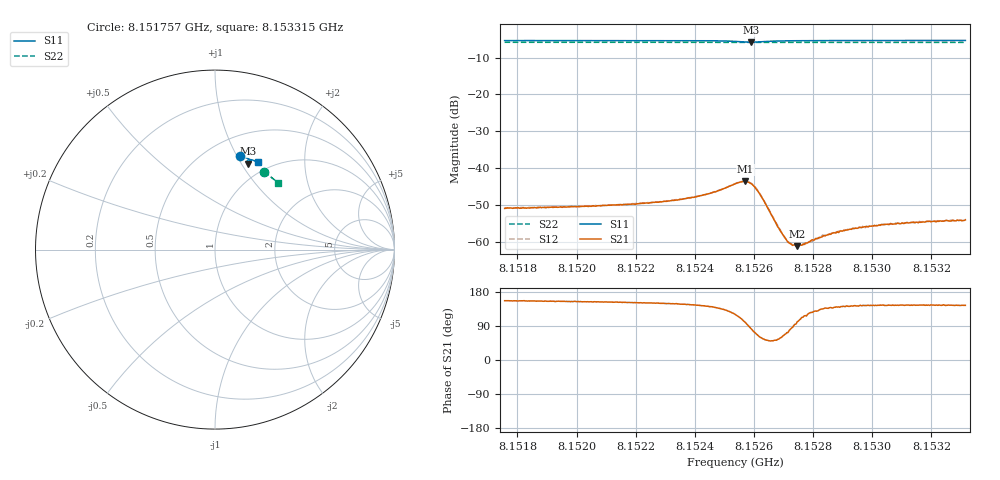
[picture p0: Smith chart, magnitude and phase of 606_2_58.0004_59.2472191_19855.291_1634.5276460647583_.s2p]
#  HZ  S  RI  R  50.00
! Rohde & Schwarz Vector Network Analyzer
! Rohde-Schwarz,ZNB20-2Port,1311601062101988,3.16
! Created: UTC 3/21/2024, 1:17:26 AM
! freq[Hz]  re:S11  im:S11  re:S21  im:S21  re:S12  im:S12  re:S22  im:S22
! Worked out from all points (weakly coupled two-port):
!   401 points, 8.151757 GHz to 8.153315 GHz, reference 50 ohm
!   highest |S21| = -43.66 dB at 8.152571 GHz (marker M1); lowest = -61.2 dB at 8.152746 GHz (marker M2)
!   lowest |S11| = -5.8 dB at 8.15259 GHz (marker M3), VSWR 3.11, Z = 41.2 + j53.6 ohm
!   |S11| at or under -10 dB: nowhere
!   |S22| runs from -5.8 to -5.8 dB; largest |S21 - S12| = 0.00015
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8.1517566e9  0.141 0.5214  -0.00259 0.00113  -0.00259 0.00116  0.274 0.4327
8.1520176e9  0.1594 0.5163  -0.0027 0.00134  -0.0027 0.00137  0.2878 0.4233
8.1522787e9  0.1787 0.5099  -0.00297 0.00171  -0.00297 0.00179  0.3013 0.4134
8.1523488e9  0.1843 0.5076  -0.00314 0.00201  -0.00317 0.00206  0.3048 0.4105
8.1524345e9  0.192 0.503  -0.00344 0.00263  -0.00343 0.0027  0.3091 0.4071
8.1524774e9  0.1962 0.499  -0.00359 0.00335  -0.00355 0.00339  0.3112 0.4052
8.1525358e9  0.1994 0.488  -0.0031 0.00524  -0.0031 0.00529  0.314 0.4025
8.1525709e9  0.1929 0.4792  -0.00101 0.00648  -0.000956 0.00656  0.3153 0.4009
8.1525903e9  0.1852 0.4792  0.000793 0.00606  0.000888 0.00614  0.3161 0.4003
8.1526059e9  0.1802 0.4831  0.00181 0.00497  0.0019 0.00504  0.3166 0.4
8.1526215e9  0.1784 0.4883  0.00217 0.00372  0.00222 0.00373  0.3174 0.3996
8.1526838e9  0.1863 0.5001  0.000874 0.00126  0.0009 0.00124  0.3208 0.3974
8.1527072e9  0.1899 0.501  0.000393 0.00102  0.000417 0.00101  0.3219 0.3965
8.1527228e9  0.1919 0.5014  0.000146 0.000926  0.000172 0.000931  0.3227 0.3958
8.1527462e9  0.1948 0.5014  -0.000161 0.000856  -0.000149 0.000857  0.3238 0.3949
8.1527617e9  0.1966 0.5014  -0.00034 0.000827  -0.000308 0.000871  0.3249 0.3944
8.1527968e9  0.2004 0.5009  -0.000615 0.000862  -0.000603 0.000797  0.3265 0.3927
8.1528358e9  0.204 0.5  -0.000864 0.000849  -0.00081 0.000879  0.3284 0.3911
8.1528981e9  0.2092 0.4986  -0.00107 0.00087  -0.00107 0.000923  0.3315 0.3885
8.1529643e9  0.2142 0.497  -0.00124 0.000939  -0.00122 0.000948  0.3345 0.3856
8.1530578e9  0.2212 0.4944  -0.00139 0.00099  -0.00139 0.00103  0.3388 0.3817
8.153315e9  0.2385 0.4871  -0.0016 0.00116  -0.0016 0.00112  0.3508 0.3704
